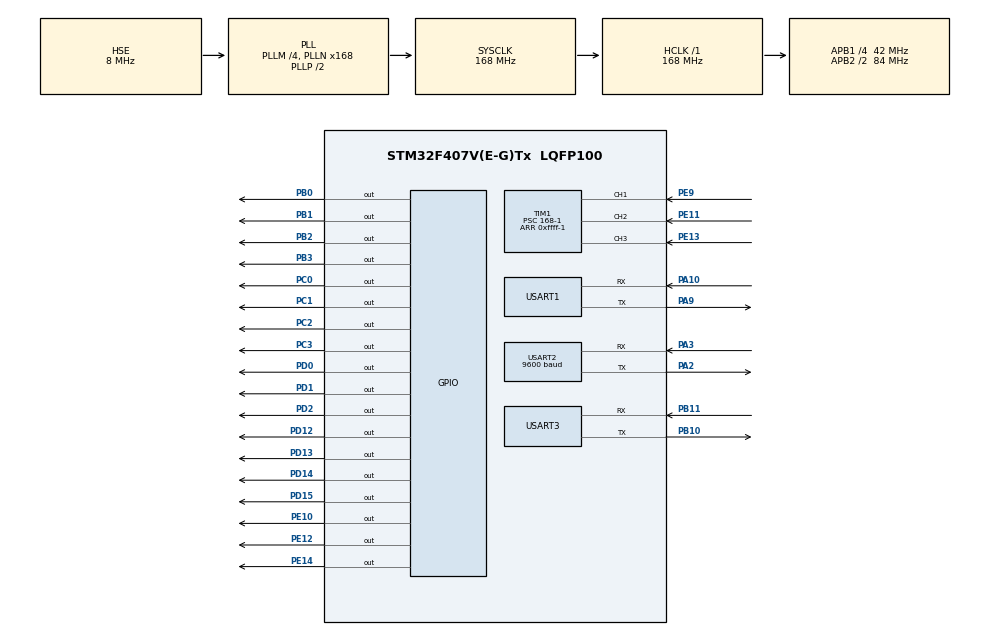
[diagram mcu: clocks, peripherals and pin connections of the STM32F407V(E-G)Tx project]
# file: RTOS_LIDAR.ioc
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Dma.Request0=USART1_RX
Dma.Request1=USART2_RX
Dma.Request2=USART3_TX
Dma.Request3=USART3_RX
Dma.USART1_RX.0.Direction=DMA_PERIPH_TO_MEMORY
Dma.USART1_RX.0.FIFOMode=DMA_FIFOMODE_DISABLE
Dma.USART1_RX.0.Instance=DMA2_Stream2
Dma.USART1_RX.0.MemDataAlignment=DMA_MDATAALIGN_BYTE
Dma.USART1_RX.0.MemInc=DMA_MINC_ENABLE
Dma.USART1_RX.0.Mode=DMA_NORMAL
Dma.USART1_RX.0.PeriphDataAlignment=DMA_PDATAALIGN_BYTE
Dma.USART1_RX.0.PeriphInc=DMA_PINC_DISABLE
Dma.USART1_RX.0.Priority=DMA_PRIORITY_LOW
Dma.USART2_RX.1.Direction=DMA_PERIPH_TO_MEMORY
Dma.USART2_RX.1.FIFOMode=DMA_FIFOMODE_DISABLE
Dma.USART2_RX.1.Instance=DMA1_Stream5
Dma.USART2_RX.1.MemDataAlignment=DMA_MDATAALIGN_BYTE
Dma.USART2_RX.1.MemInc=DMA_MINC_ENABLE
Dma.USART2_RX.1.Mode=DMA_NORMAL
Dma.USART2_RX.1.PeriphDataAlignment=DMA_PDATAALIGN_BYTE
Dma.USART2_RX.1.PeriphInc=DMA_PINC_DISABLE
Dma.USART2_RX.1.Priority=DMA_PRIORITY_LOW
Dma.USART3_RX.3.Direction=DMA_PERIPH_TO_MEMORY
Dma.USART3_RX.3.FIFOMode=DMA_FIFOMODE_DISABLE
Dma.USART3_RX.3.Instance=DMA1_Stream1
Dma.USART3_RX.3.MemDataAlignment=DMA_MDATAALIGN_BYTE
Dma.USART3_RX.3.MemInc=DMA_MINC_ENABLE
Dma.USART3_RX.3.Mode=DMA_NORMAL
Dma.USART3_RX.3.PeriphDataAlignment=DMA_PDATAALIGN_BYTE
Dma.USART3_RX.3.PeriphInc=DMA_PINC_DISABLE
Dma.USART3_RX.3.Priority=DMA_PRIORITY_LOW
Dma.USART3_TX.2.Direction=DMA_MEMORY_TO_PERIPH
Dma.USART3_TX.2.FIFOMode=DMA_FIFOMODE_DISABLE
Dma.USART3_TX.2.Instance=DMA1_Stream3
Dma.USART3_TX.2.MemDataAlignment=DMA_MDATAALIGN_BYTE
Dma.USART3_TX.2.MemInc=DMA_MINC_ENABLE
Dma.USART3_TX.2.Mode=DMA_NORMAL
Dma.USART3_TX.2.PeriphDataAlignment=DMA_PDATAALIGN_BYTE
Dma.USART3_TX.2.PeriphInc=DMA_PINC_DISABLE
Dma.USART3_TX.2.Priority=DMA_PRIORITY_LOW
FREERTOS.Tasks01=LidarREAD,24,128,StartLidarREAD,Default,NULL,Dynamic,NULL,NULL;TakeAction_Lida,8,128,Start_TakeAction_Lidar,Default,NULL,Dynamic,NULL,NULL;Ultrasonic_Read,24,128,Start_Ultrasonic_Read,Default,NULL,Dynamic,NULL,NULL;GPS,16,128,Start_GPS,Default,NULL,Dynamic,NULL,NULL;Send_Data,8,300,StartTask06,Default,NULL,Dynamic,NULL,NULL;Rec_Data,8,128,Start_Rec_Transmit,Default,NULL,Dynamic,NULL,NULL
Mcu.Family=STM32F4
Mcu.Name=STM32F407V(E-G)Tx
Mcu.Package=LQFP100
NVIC.DMA1_Stream1_IRQn=true\:5\:0\:false\:false\:true\:true\:false\:true\:true
NVIC.DMA1_Stream3_IRQn=true\:5\:0\:false\:false\:true\:true\:false\:true\:true
NVIC.DMA1_Stream5_IRQn=true\:5\:0\:false\:false\:true\:true\:false\:true\:true
NVIC.DMA2_Stream2_IRQn=true\:5\:0\:false\:false\:true\:true\:false\:true\:true
NVIC.PriorityGroup=NVIC_PRIORITYGROUP_4
NVIC.TIM1_CC_IRQn=true\:5\:0\:false\:false\:true\:true\:true\:true\:true
NVIC.TIM6_DAC_IRQn=true\:15\:0\:false\:false\:true\:false\:false\:true\:true
NVIC.TimeBase=TIM6_DAC_IRQn
NVIC.TimeBaseIP=TIM6
NVIC.USART1_IRQn=true\:5\:0\:false\:false\:true\:true\:true\:true\:true
NVIC.USART2_IRQn=true\:5\:0\:false\:false\:true\:true\:true\:true\:true
NVIC.USART3_IRQn=true\:5\:0\:true\:false\:true\:true\:true\:true\:true
PA10.Mode=Asynchronous
PA10.Signal=USART1_RX
PA2.Mode=Asynchronous
PA2.Signal=USART2_TX
PA3.Mode=Asynchronous
PA3.Signal=USART2_RX
PA9.Mode=Asynchronous
PA9.Signal=USART1_TX
PB0.Signal=GPIO_Output
PB1.Signal=GPIO_Output
PB10.Mode=Asynchronous
PB10.Signal=USART3_TX
PB11.Mode=Asynchronous
PB11.Signal=USART3_RX
PB2.Signal=GPIO_Output
PB3.Signal=GPIO_Output
PC0.Signal=GPIO_Output
PC1.Signal=GPIO_Output
PC14-OSC32_IN.Mode=LSE-External-Oscillator
PC14-OSC32_IN.Signal=RCC_OSC32_IN
PC15-OSC32_OUT.Mode=LSE-External-Oscillator
PC15-OSC32_OUT.Signal=RCC_OSC32_OUT
PC2.Signal=GPIO_Output
PC3.Signal=GPIO_Output
PD0.Signal=GPIO_Output
PD1.Signal=GPIO_Output
PD12.Signal=GPIO_Output
PD13.Signal=GPIO_Output
PD14.Signal=GPIO_Output
PD15.Signal=GPIO_Output
PD2.Signal=GPIO_Output
PE10.Signal=GPIO_Output
PE11.Signal=S_TIM1_CH2
PE12.Signal=GPIO_Output
PE13.Signal=S_TIM1_CH3
PE14.Signal=GPIO_Output
PE9.Signal=S_TIM1_CH1
PH0-OSC_IN.Mode=HSE-External-Oscillator
PH0-OSC_IN.Signal=RCC_OSC_IN
PH1-OSC_OUT.Mode=HSE-External-Oscillator
PH1-OSC_OUT.Signal=RCC_OSC_OUT
ProjectManager.HeapSize=0x200
ProjectManager.StackSize=0x400
ProjectManager.TargetToolchain=STM32CubeIDE
RCC.48MHZClocksFreq_Value=84000000
RCC.AHBFreq_Value=168000000
RCC.APB1CLKDivider=RCC_HCLK_DIV4
RCC.APB1Freq_Value=42000000
RCC.APB1TimFreq_Value=84000000
RCC.APB2CLKDivider=RCC_HCLK_DIV2
RCC.APB2Freq_Value=84000000
RCC.APB2TimFreq_Value=168000000
RCC.CortexFreq_Value=168000000
RCC.HCLKFreq_Value=168000000
RCC.HSE_VALUE=8000000
RCC.HSI_VALUE=16000000
RCC.PLLM=4
RCC.PLLN=168
RCC.PLLSourceVirtual=RCC_PLLSOURCE_HSE
RCC.SYSCLKFreq_VALUE=168000000
RCC.SYSCLKSource=RCC_SYSCLKSOURCE_PLLCLK
RCC.VCOOutputFreq_Value=336000000
SH.S_TIM1_CH1.0=TIM1_CH1,Input_Capture1_from_TI1
SH.S_TIM1_CH2.0=TIM1_CH2,Input_Capture2_from_TI2
SH.S_TIM1_CH3.0=TIM1_CH3,Input_Capture3_from_TI3
TIM1.Channel-Input_Capture1_from_TI1=TIM_CHANNEL_1
TIM1.Channel-Input_Capture2_from_TI2=TIM_CHANNEL_2
TIM1.Channel-Input_Capture3_from_TI3=TIM_CHANNEL_3
TIM1.Period=0xffff-1
TIM1.Prescaler=168-1
USART1.VirtualMode=VM_ASYNC
USART2.BaudRate=9600
USART2.VirtualMode=VM_ASYNC
USART3.VirtualMode=VM_ASYNC
VP_FREERTOS_VS_CMSIS_V2.Mode=CMSIS_V2
VP_SYS_VS_tim6.Mode=TIM6
VP_TIM1_VS_ClockSourceINT.Mode=Internal
board=custom

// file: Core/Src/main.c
/* USER CODE BEGIN Header */
/**
 ******************************************************************************
 * @file           : main.c
 * @brief          : Main program body
 ******************************************************************************
 * @attention
 *
 * Copyright (c) 2023 STMicroelectronics.
 * All rights reserved.
 *
 * This software is licensed under terms that can be found in the LICENSE file
 * in the root directory of this software component.
 * If no LICENSE file comes with this software, it is provided AS-IS.
 *
 ******************************************************************************
 */
/* USER CODE END Header */
#include "main.h"
#include "cmsis_os.h"

/* USER CODE BEGIN Includes */
#include "Lidar.h"
#include "UltraSonic.h"
#include "string.h"
#include "gps_driver.h"
#include"LCD.h"
#include <string.h>
#include <stdio.h>

/* USER CODE END Includes */

TIM_HandleTypeDef htim1;

UART_HandleTypeDef huart1;
UART_HandleTypeDef huart2;
UART_HandleTypeDef huart3;
DMA_HandleTypeDef hdma_usart1_rx;
DMA_HandleTypeDef hdma_usart2_rx;
DMA_HandleTypeDef hdma_usart3_tx;
DMA_HandleTypeDef hdma_usart3_rx;

/* Definitions for LidarREAD */
osThreadId_t LidarREADHandle;
const osThreadAttr_t LidarREAD_attributes = {
		.name = "LidarREAD",
		.stack_size = 128 * 4,
		.priority = (osPriority_t) osPriorityNormal,
};
/* Definitions for TakeAction_Lida */
osThreadId_t TakeAction_LidaHandle;
const osThreadAttr_t TakeAction_Lida_attributes = {
		.name = "TakeAction_Lida",
		.stack_size = 128 * 4,
		.priority = (osPriority_t) osPriorityLow,
};
/* Definitions for Ultrasonic_Read */
osThreadId_t Ultrasonic_ReadHandle;
const osThreadAttr_t Ultrasonic_Read_attributes = {
		.name = "Ultrasonic_Read",
		.stack_size = 128 * 4,
		.priority = (osPriority_t) osPriorityNormal,
};
/* Definitions for GPS */
osThreadId_t GPSHandle;
const osThreadAttr_t GPS_attributes = {
		.name = "GPS",
		.stack_size = 128 * 4,
		.priority = (osPriority_t) osPriorityBelowNormal,
};
/* Definitions for Send_Data */
osThreadId_t Send_DataHandle;
const osThreadAttr_t Send_Data_attributes = {
		.name = "Send_Data",
		.stack_size = 300 * 4,
		.priority = (osPriority_t) osPriorityLow,
};
/* Definitions for Rec_Data */
osThreadId_t Rec_DataHandle;
const osThreadAttr_t Rec_Data_attributes = {
		.name = "Rec_Data",
		.stack_size = 128 * 4,
		.priority = (osPriority_t) osPriorityLow,
};
/* USER CODE BEGIN PV */
#define RxBuf_SIZE 800

uint8_t RxBuf[RxBuf_SIZE];
uint8_t RMC[80];
uint8_t GGA[80];
uint8_t msgindex=0;
uint8_t msgindexRMC=0;

GGA_STRUCT GGA_DATA;

RMC_STRUCT RMC_DATA;

int Flag=0;
char str_GGA[50];
char str_RMC[100];
/* USER CODE END PV */

void SystemClock_Config(void);
static void MX_GPIO_Init(void);
static void MX_DMA_Init(void);
static void MX_USART1_UART_Init(void);
static void MX_TIM1_Init(void);
static void MX_USART2_UART_Init(void);
static void MX_USART3_UART_Init(void);
void StartLidarREAD(void *argument);
void Start_TakeAction_Lidar(void *argument);
void Start_Ultrasonic_Read(void *argument);
void Start_GPS(void *argument);
void StartTask06(void *argument);
void Start_Rec_Transmit(void *argument);

/* USER CODE BEGIN 0 */
/*****extern variable****/
extern uint16_t Global_u16LidarDistance;
extern uint32_t Rear_Distance;
extern uint32_t Left_Distance;
extern uint32_t Right_Distance;
char test_data[400];
int Vehicle_ID = 1;
int Routing_command=0;
float Destination_Longitude=31.3488351;
float Destination_Latitude=30.0591282;
int Check_Front_Obs=0;

char rx_data[10];
int Flag_Rec =0;
int Flag_obstacle=0;
int Flag_Drive=0;
uint8_t blink_color = 0;

/*buffer to receive data */
uint8_t g_usart1_rx_buf[USART_BUF_SIZE] = { 0 };
void HAL_UARTEx_RxEventCallback(UART_HandleTypeDef *huart, uint16_t Size)
{
	if (huart->Instance == USART2)
	{
		Flag=1;
		/* start the DMA again */
		HAL_UARTEx_ReceiveToIdle_DMA(&huart2, (uint8_t *) RxBuf, RxBuf_SIZE);
		__HAL_DMA_DISABLE_IT(&hdma_usart2_rx, DMA_IT_HT);
	}
	if (huart->Instance == USART3)
	{
		Flag_Rec=1;
		/* start the DMA again */
		HAL_UARTEx_ReceiveToIdle_DMA(&huart3, (uint8_t *) rx_data, sizeof(rx_data));
		__HAL_DMA_DISABLE_IT(&hdma_usart3_rx, DMA_IT_HT);

	}
}

/* USER CODE END 0 */

int main(void)
{

	/* MCU Configuration--------------------------------------------------------*/

	/* Reset of all peripherals, Initializes the Flash interface and the Systick. */
	HAL_Init();

	/* Configure the system clock */
	SystemClock_Config();

	/* Initialize all configured peripherals */
	MX_GPIO_Init();
	MX_DMA_Init();
	MX_USART1_UART_Init();
	MX_TIM1_Init();
	MX_USART2_UART_Init();
	MX_USART3_UART_Init();
	/* USER CODE BEGIN 2 */
	HAL_UARTEx_ReceiveToIdle_DMA(&huart2, RxBuf, RxBuf_SIZE);
	__HAL_DMA_DISABLE_IT(&hdma_usart2_rx, DMA_IT_HT);

	HAL_UARTEx_ReceiveToIdle_DMA(&huart3, rx_data, sizeof(rx_data));
	__HAL_DMA_DISABLE_IT(&hdma_usart3_rx, DMA_IT_HT);
	LCD_init(); /* Initialize the LCD */
	LCD_displayStringRowColumn(0,0,"STM LCD Driver");
	LCD_displayStringRowColumn(1,3,"GRAD PROJECT");
	HAL_Delay(400); /* wait four seconds */

	LCD_clearScreen(); /* clear the LCD display */
	LCD_displayString(" ");
	LCD_displayStringRowColumn(1,3,"4-Bit Mode");
	/* USER CODE END 2 */

	/* Init scheduler */
	osKernelInitialize();

	/* Create the thread(s) */
	/* creation of LidarREAD */
	LidarREADHandle = osThreadNew(StartLidarREAD, NULL, &LidarREAD_attributes);

	/* creation of TakeAction_Lida */
	TakeAction_LidaHandle = osThreadNew(Start_TakeAction_Lidar, NULL, &TakeAction_Lida_attributes);

	/* creation of Ultrasonic_Read */
	Ultrasonic_ReadHandle = osThreadNew(Start_Ultrasonic_Read, NULL, &Ultrasonic_Read_attributes);

	/* creation of GPS */
	GPSHandle = osThreadNew(Start_GPS, NULL, &GPS_attributes);

	/* creation of Send_Data */
	Send_DataHandle = osThreadNew(StartTask06, NULL, &Send_Data_attributes);

	/* creation of Rec_Data */
	Rec_DataHandle = osThreadNew(Start_Rec_Transmit, NULL, &Rec_Data_attributes);

	/* Start scheduler */
	osKernelStart();
	/* We should never get here as control is now taken by the scheduler */
	/* Infinite loop */
	while (1)
	{

	}
}

void SystemClock_Config(void)
{
	RCC_OscInitTypeDef RCC_OscInitStruct = {0};
	RCC_ClkInitTypeDef RCC_ClkInitStruct = {0};

	/** Configure the main internal regulator output voltage
	 */
	__HAL_RCC_PWR_CLK_ENABLE();
	__HAL_PWR_VOLTAGESCALING_CONFIG(PWR_REGULATOR_VOLTAGE_SCALE1);

	/** Initializes the RCC Oscillators according to the specified parameters
	 * in the RCC_OscInitTypeDef structure.
	 */
	RCC_OscInitStruct.OscillatorType = RCC_OSCILLATORTYPE_HSE;
	RCC_OscInitStruct.HSEState = RCC_HSE_ON;
	RCC_OscInitStruct.PLL.PLLState = RCC_PLL_ON;
	RCC_OscInitStruct.PLL.PLLSource = RCC_PLLSOURCE_HSE;
	RCC_OscInitStruct.PLL.PLLM = 4;
	RCC_OscInitStruct.PLL.PLLN = 168;
	RCC_OscInitStruct.PLL.PLLP = RCC_PLLP_DIV2;
	RCC_OscInitStruct.PLL.PLLQ = 4;
	if (HAL_RCC_OscConfig(&RCC_OscInitStruct) != HAL_OK)
	{
		Error_Handler();
	}

	/** Initializes the CPU, AHB and APB buses clocks
	 */
	RCC_ClkInitStruct.ClockType = RCC_CLOCKTYPE_HCLK|RCC_CLOCKTYPE_SYSCLK
			|RCC_CLOCKTYPE_PCLK1|RCC_CLOCKTYPE_PCLK2;
	RCC_ClkInitStruct.SYSCLKSource = RCC_SYSCLKSOURCE_PLLCLK;
	RCC_ClkInitStruct.AHBCLKDivider = RCC_SYSCLK_DIV1;
	RCC_ClkInitStruct.APB1CLKDivider = RCC_HCLK_DIV4;
	RCC_ClkInitStruct.APB2CLKDivider = RCC_HCLK_DIV2;

	if (HAL_RCC_ClockConfig(&RCC_ClkInitStruct, FLASH_LATENCY_5) != HAL_OK)
	{
		Error_Handler();
	}
}

static void MX_TIM1_Init(void)
{

	TIM_ClockConfigTypeDef sClockSourceConfig = {0};
	TIM_MasterConfigTypeDef sMasterConfig = {0};
	TIM_IC_InitTypeDef sConfigIC = {0};

	htim1.Instance = TIM1;
	htim1.Init.Prescaler = 168-1;
	htim1.Init.CounterMode = TIM_COUNTERMODE_UP;
	htim1.Init.Period = 0xffff-1;
	htim1.Init.ClockDivision = TIM_CLOCKDIVISION_DIV1;
	htim1.Init.RepetitionCounter = 0;
	htim1.Init.AutoReloadPreload = TIM_AUTORELOAD_PRELOAD_DISABLE;
	if (HAL_TIM_Base_Init(&htim1) != HAL_OK)
	{
		Error_Handler();
	}
	sClockSourceConfig.ClockSource = TIM_CLOCKSOURCE_INTERNAL;
	if (HAL_TIM_ConfigClockSource(&htim1, &sClockSourceConfig) != HAL_OK)
	{
		Error_Handler();
	}
	if (HAL_TIM_IC_Init(&htim1) != HAL_OK)
	{
		Error_Handler();
	}
	sMasterConfig.MasterOutputTrigger = TIM_TRGO_RESET;
	sMasterConfig.MasterSlaveMode = TIM_MASTERSLAVEMODE_DISABLE;
	if (HAL_TIMEx_MasterConfigSynchronization(&htim1, &sMasterConfig) != HAL_OK)
	{
		Error_Handler();
	}
	sConfigIC.ICPolarity = TIM_INPUTCHANNELPOLARITY_RISING;
	sConfigIC.ICSelection = TIM_ICSELECTION_DIRECTTI;
	sConfigIC.ICPrescaler = TIM_ICPSC_DIV1;
	sConfigIC.ICFilter = 0;
	if (HAL_TIM_IC_ConfigChannel(&htim1, &sConfigIC, TIM_CHANNEL_1) != HAL_OK)
	{
		Error_Handler();
	}
	if (HAL_TIM_IC_ConfigChannel(&htim1, &sConfigIC, TIM_CHANNEL_2) != HAL_OK)
	{
		Error_Handler();
	}
	if (HAL_TIM_IC_ConfigChannel(&htim1, &sConfigIC, TIM_CHANNEL_3) != HAL_OK)
	{
		Error_Handler();
	}

}

static void MX_USART1_UART_Init(void)
{

	huart1.Instance = USART1;
	huart1.Init.BaudRate = 115200;
	huart1.Init.WordLength = UART_WORDLENGTH_8B;
	huart1.Init.StopBits = UART_STOPBITS_1;
	huart1.Init.Parity = UART_PARITY_NONE;
	huart1.Init.Mode = UART_MODE_TX_RX;
	huart1.Init.HwFlowCtl = UART_HWCONTROL_NONE;
	huart1.Init.OverSampling = UART_OVERSAMPLING_16;
	if (HAL_UART_Init(&huart1) != HAL_OK)
	{
		Error_Handler();
	}

}

static void MX_USART2_UART_Init(void)
{

	huart2.Instance = USART2;
	huart2.Init.BaudRate = 9600;
	huart2.Init.WordLength = UART_WORDLENGTH_8B;
	huart2.Init.StopBits = UART_STOPBITS_1;
	huart2.Init.Parity = UART_PARITY_NONE;
	huart2.Init.Mode = UART_MODE_TX_RX;
	huart2.Init.HwFlowCtl = UART_HWCONTROL_NONE;
	huart2.Init.OverSampling = UART_OVERSAMPLING_16;
	if (HAL_UART_Init(&huart2) != HAL_OK)
	{
		Error_Handler();
	}

}

static void MX_USART3_UART_Init(void)
{

	huart3.Instance = USART3;
	huart3.Init.BaudRate = 115200;
	huart3.Init.WordLength = UART_WORDLENGTH_8B;
	huart3.Init.StopBits = UART_STOPBITS_1;
	huart3.Init.Parity = UART_PARITY_NONE;
	huart3.Init.Mode = UART_MODE_TX_RX;
	huart3.Init.HwFlowCtl = UART_HWCONTROL_NONE;
	huart3.Init.OverSampling = UART_OVERSAMPLING_16;
	if (HAL_UART_Init(&huart3) != HAL_OK)
	{
		Error_Handler();
	}

}

static void MX_DMA_Init(void)
{

	/* DMA controller clock enable */
	__HAL_RCC_DMA2_CLK_ENABLE();
	__HAL_RCC_DMA1_CLK_ENABLE();

	/* DMA interrupt init */
	/* DMA1_Stream1_IRQn interrupt configuration */
	HAL_NVIC_SetPriority(DMA1_Stream1_IRQn, 5, 0);
	HAL_NVIC_EnableIRQ(DMA1_Stream1_IRQn);
	/* DMA1_Stream3_IRQn interrupt configuration */
	HAL_NVIC_SetPriority(DMA1_Stream3_IRQn, 5, 0);
	HAL_NVIC_EnableIRQ(DMA1_Stream3_IRQn);
	/* DMA1_Stream5_IRQn interrupt configuration */
	HAL_NVIC_SetPriority(DMA1_Stream5_IRQn, 5, 0);
	HAL_NVIC_EnableIRQ(DMA1_Stream5_IRQn);
	/* DMA2_Stream2_IRQn interrupt configuration */
	HAL_NVIC_SetPriority(DMA2_Stream2_IRQn, 5, 0);
	HAL_NVIC_EnableIRQ(DMA2_Stream2_IRQn);

}

static void MX_GPIO_Init(void)
{
	GPIO_InitTypeDef GPIO_InitStruct = {0};

	/* GPIO Ports Clock Enable */
	__HAL_RCC_GPIOC_CLK_ENABLE();
	__HAL_RCC_GPIOH_CLK_ENABLE();
	__HAL_RCC_GPIOA_CLK_ENABLE();
	__HAL_RCC_GPIOB_CLK_ENABLE();
	__HAL_RCC_GPIOE_CLK_ENABLE();
	__HAL_RCC_GPIOD_CLK_ENABLE();

	/*Configure GPIO pin Output Level */
	HAL_GPIO_WritePin(GPIOC, GPIO_PIN_0|GPIO_PIN_1|GPIO_PIN_2|GPIO_PIN_3, GPIO_PIN_RESET);

	/*Configure GPIO pin Output Level */
	HAL_GPIO_WritePin(GPIOB, GPIO_PIN_0|GPIO_PIN_1|GPIO_PIN_2|GPIO_PIN_3, GPIO_PIN_RESET);

	/*Configure GPIO pin Output Level */
	HAL_GPIO_WritePin(GPIOE, GPIO_PIN_10|GPIO_PIN_12|GPIO_PIN_14, GPIO_PIN_RESET);

	/*Configure GPIO pin Output Level */
	HAL_GPIO_WritePin(GPIOD, GPIO_PIN_12|GPIO_PIN_13|GPIO_PIN_14|GPIO_PIN_15
			|GPIO_PIN_0|GPIO_PIN_1|GPIO_PIN_2, GPIO_PIN_RESET);

	/*Configure GPIO pins : PC0 PC1 PC2 PC3 */
	GPIO_InitStruct.Pin = GPIO_PIN_0|GPIO_PIN_1|GPIO_PIN_2|GPIO_PIN_3;
	GPIO_InitStruct.Mode = GPIO_MODE_OUTPUT_PP;
	GPIO_InitStruct.Pull = GPIO_NOPULL;
	GPIO_InitStruct.Speed = GPIO_SPEED_FREQ_LOW;
	HAL_GPIO_Init(GPIOC, &GPIO_InitStruct);

	/*Configure GPIO pins : PB0 PB1 PB2 PB3 */
	GPIO_InitStruct.Pin = GPIO_PIN_0|GPIO_PIN_1|GPIO_PIN_2|GPIO_PIN_3;
	GPIO_InitStruct.Mode = GPIO_MODE_OUTPUT_PP;
	GPIO_InitStruct.Pull = GPIO_NOPULL;
	GPIO_InitStruct.Speed = GPIO_SPEED_FREQ_LOW;
	HAL_GPIO_Init(GPIOB, &GPIO_InitStruct);

	/*Configure GPIO pins : PE10 PE12 PE14 */
	GPIO_InitStruct.Pin = GPIO_PIN_10|GPIO_PIN_12|GPIO_PIN_14;
	GPIO_InitStruct.Mode = GPIO_MODE_OUTPUT_PP;
	GPIO_InitStruct.Pull = GPIO_NOPULL;
	GPIO_InitStruct.Speed = GPIO_SPEED_FREQ_LOW;
	HAL_GPIO_Init(GPIOE, &GPIO_InitStruct);

	/*Configure GPIO pins : PD12 PD13 PD14 PD15
                           PD0 PD1 PD2 */
	GPIO_InitStruct.Pin = GPIO_PIN_12|GPIO_PIN_13|GPIO_PIN_14|GPIO_PIN_15
			|GPIO_PIN_0|GPIO_PIN_1|GPIO_PIN_2;
	GPIO_InitStruct.Mode = GPIO_MODE_OUTPUT_PP;
	GPIO_InitStruct.Pull = GPIO_NOPULL;
	GPIO_InitStruct.Speed = GPIO_SPEED_FREQ_LOW;
	HAL_GPIO_Init(GPIOD, &GPIO_InitStruct);

}

void StartLidarREAD(void *argument)
{
	/* USER CODE BEGIN 5 */
	/* Infinite loop */
	for(;;)
	{
		HAL_UART_Receive_DMA(&huart1, g_usart1_rx_buf, USART_BUF_SIZE);

		/* enable uart IDLE  interrupt */
		__HAL_UART_ENABLE_IT(&huart1, UART_IT_IDLE);
		if(Global_u16LidarDistance <=100)
		{
			Flag_obstacle=1;
			Flag_Drive=0;
		}
		if(Global_u16LidarDistance < 1200)
		{
			Check_Front_Obs=1;
		}
		else if(Global_u16LidarDistance == 65535)
		{
			Check_Front_Obs=0;
		}
		osDelay(800);
	}
	/* USER CODE END 5 */
}

void Start_TakeAction_Lidar(void *argument)
{
	/* USER CODE BEGIN Start_TakeAction_Lidar */
	/* Infinite loop */
	for(;;)
	{
		if (Flag_obstacle == 1)
		{
			HAL_GPIO_WritePin(GPIOD, GPIO_PIN_14,SET);
			LCD_clearScreen(); /* clear the LCD display */
			LCD_displayString(" ");
			LCD_displayStringRowColumn(0,0,"Applying Brakes");
			HAL_Delay(200);
			HAL_GPIO_WritePin(GPIOD, GPIO_PIN_14,RESET);
			if(Global_u16LidarDistance >=101)
			{
				Flag_Drive=1;
			}
			Flag_obstacle=0;
			osDelay(200);

		}
		else if(Flag_Drive==1) {
			LCD_clearScreen(); /* clear the LCD display */
			LCD_displayString(" ");
			LCD_displayStringRowColumn(0,0,"Drive Mode");
			Flag_Drive=0;
			osDelay(20);
		}
	}
	/* USER CODE END Start_TakeAction_Lidar */
}

void Start_Ultrasonic_Read(void *argument)
{
	/* USER CODE BEGIN Start_Ultrasonic_Read */
	/* Infinite loop */
	HAL_TIM_IC_Start_IT(&htim1,TIM_CHANNEL_1);
	HAL_TIM_IC_Start_IT(&htim1,TIM_CHANNEL_2);
	//HAL_TIM_IC_Start_IT(&htim1,TIM_CHANNEL_3);

	for(;;)
	{
		UltraSonic_Read_Left();
		osDelay(400);

		UltraSonic_Read_Right();
		osDelay(400);
	}
	/* USER CODE END Start_Ultrasonic_Read */
}

void Start_GPS(void *argument)
{
	/* USER CODE BEGIN Start_GPS */
	/* Infinite loop */
	for(;;)
	{
		if (Flag==1)
		{
			//	if(Flag == 1){
			char *ptr = strstr((char *)RxBuf,"GPGGA");
			char *ptr1 = strstr((char *)RxBuf,"GPRMC");

			if(*ptr == 'G' )
			{
				if(*(ptr+1) == 'P' )

				{
					if(*(ptr+2) == 'G' )
					{
						if(*(ptr+3) == 'G' )
						{
							if(*(ptr+4) == 'A' )
							{
								while(1)
								{
									GGA[msgindex]=*ptr;
									msgindex++;
									*ptr =*(ptr+msgindex);
									if (*ptr=='*')
									{
										GGA[msgindex]='\n';
										msgindex++;
										GGA[msgindex]='\0';
										msgindex=0;
										break;
									}
								}

							}
						}
					}
				}
			}

			if(*ptr1 == 'G' )
			{
				if(*(ptr1+1) == 'P' )

				{
					if(*(ptr1+2) == 'R' )
					{
						if(*(ptr1+3) == 'M' )
						{
							if(*(ptr1+4) == 'C' )
							{
								while(1)
								{
									RMC[msgindexRMC]=*ptr1;
									msgindexRMC++;
									*ptr1 =*(ptr1+msgindexRMC);
									if (*ptr1=='*')
									{
										RMC[msgindexRMC]='\n';
										msgindexRMC++;
										RMC[msgindexRMC]='\0';
										msgindexRMC=0;
										break;
									}
								}

							}
						}
					}
				}
			}
			RMC_decode(RMC, &RMC_DATA);
			GGA_decode(GGA, &GGA_DATA);
			Flag=0;
			osDelay(100);
		}	}
	/* USER CODE END Start_GPS */
}

void StartTask06(void *argument)
{
	/* USER CODE BEGIN StartTask06 */
	/* Infinite loop */
	for(;;)
	{
		char lat[30];
		char lon[30];
		char D_lat[30];
		char D_lon[30];

		gcvt(GGA_DATA.position.latitude, 10, lat);
		gcvt(GGA_DATA.position.logitude, 10, lon);
		gcvt(Destination_Latitude, 10, D_lat);
		gcvt(Destination_Longitude, 10, D_lon);

		/*	int len = snprintf(test_data, sizeof(test_data), "%d-%d-%d %d:%d:%d,%d,%s,%s,%d,%d,%d,%lu,%lu,%lu,%s,%s"
				,
				RMC_DATA.date.day, RMC_DATA.date.month, RMC_DATA.date.year,
				GGA_DATA.time.hour, GGA_DATA.time.minuit, GGA_DATA.time.second, Vehicle_ID,
				lon, lat,(uint16_t)RMC_DATA.speed_over_gnd, Check_Front_Obs, Global_u16LidarDistance,
				Left_Distance, Right_Distance,Rear_Distance, D_lon, D_lat);
		 */

		/*int len = snprintf(test_data, sizeof(test_data), "{\n"
				"\"dateandtime\": \"%d-%d-%d %d:%d:%d\" ,\n"
				"\"vehicle id\": %d,\n"
				"\"current lon\": %s,\n"
				"\"current lat\": %s,\n"
				"\"spdK/m\": %d,\n"
				"\"obsatcle flag\": %d,\n"
				"\"obstacle distance\": %d,\n"
				"\"3\": %lu,\n"
				"\"4\" :%lu,\n"
				"\"5\" :%lu,\n"
				"\"destination lon\": %s,\n"
				"\"destinationn lat\": %s\n}"
				,
				RMC_DATA.date.day, RMC_DATA.date.month, RMC_DATA.date.year,
				GGA_DATA.time.hour, GGA_DATA.time.minuit, GGA_DATA.time.second, Vehicle_ID,
				lon, lat,(uint16_t)RMC_DATA.speed_over_gnd, Check_Front_Obs, Global_u16LidarDistance,
				Left_Distance, Right_Distance,Rear_Distance, D_lon, D_lat);*/
		int len = snprintf(test_data, sizeof(test_data), "{\n"
				"\"dateandtime\": \"2022-12-07 08:48:00\" ,\n"
				"\"id\": \"%d\",\n"
				"\"r_cmd\": %d,\n"
				"\"clon\": 31.338135,\n"
				"\"clat\": 30.056193,\n"
				"\"spdK/m\": %d,\n"
				"\"1\": %d,\n"//obs flag
				"\"2\": %d,\n"//obs distance
				"\"3\": %lu,\n" // left distance
				"\"4\" :%lu,\n"//right
				"\"5\": %s,\n" //dest lon
				"\"6\": %s\n}" // dest lat

				/*RMC_DATA.date.year, RMC_DATA.date.month, RMC_DATA.date.day,
				GGA_DATA.time.hour, GGA_DATA.time.minuit, GGA_DATA.time.second*/, Vehicle_ID, Routing_command,
				/*lon, lat,*/(uint16_t)RMC_DATA.speed_over_gnd, Check_Front_Obs, Global_u16LidarDistance,
				Left_Distance, Right_Distance, D_lon, D_lat);

		/*
		 * TIME_STAMP          = "dateandtime"

		V_ID                = "vehicle id"
		CURRENT_SPEED       = "spdK/m"
		CURRENT_POS_LAT     = "current lat"
		CURRENT_POS_LON     = "current lon"

		ROUTING_CMD         = "routing command"
		DISTINATION_POS_LAT = "destinationn lat"
		DISTINATION_POS_LON = "destination lon"

		OBSTACLE_FLAG       = "obsatcle flag"
		OBSTACLE_SPEED      = "obstacle speed"
		OBSTACLE_distance   = "obstacle distance"
		 */
		if (len < 0 || len >= sizeof(test_data)) {
			// handle error
		} else {
			HAL_StatusTypeDef status = HAL_UART_Transmit_DMA(&huart3, (uint8_t*)test_data, sizeof(test_data));
			//HAL_Delay(100);
			if (status != HAL_OK) {
				// handle error
			} else {
				printf("Transmitted %d bytes of data: %s\n", sizeof(test_data), test_data);
			}
		}

		osDelay(1000);
	}
	/* USER CODE END StartTask06 */
}

void Start_Rec_Transmit(void *argument)
{
	/* USER CODE BEGIN Start_Rec_Transmit */
	/* Infinite loop */
	for(;;)
	{

		if (Flag_Rec == 1)
		{
			rx_data[strcspn(rx_data, "\r\n")] = '\0';
			rx_data[strcspn(rx_data, "\r\n")] = '\0';
			if (strcmp(rx_data, "Right") == 0)
			{
				blink_color = 1; // Green
				HAL_GPIO_WritePin(GPIOC, GPIO_PIN_0, SET);
				HAL_GPIO_WritePin(GPIOC, GPIO_PIN_1, RESET);
				HAL_GPIO_WritePin(GPIOC, GPIO_PIN_2, RESET);
				HAL_GPIO_WritePin(GPIOC, GPIO_PIN_3, RESET);
				memset((rx_data), '\0', strlen(rx_data));
				LCD_clearScreen(); /* clear the LCD display */
				LCD_displayString(" ");
				LCD_displayStringRowColumn(1,3,"Turn Right");
			}
			else if( strcmp(rx_data, "Left") == 0)
			{
				blink_color = 2; // Yellow
				HAL_GPIO_WritePin(GPIOC, GPIO_PIN_0, RESET);
				HAL_GPIO_WritePin(GPIOC, GPIO_PIN_1, SET);
				HAL_GPIO_WritePin(GPIOC, GPIO_PIN_2, RESET);
				HAL_GPIO_WritePin(GPIOC, GPIO_PIN_3, RESET);
				memset((rx_data), '\0', strlen(rx_data));

				LCD_clearScreen(); /* clear the LCD display */
				LCD_displayString(" ");
				LCD_displayStringRowColumn(1,3,"Turn Left");
			} else if (strcmp(rx_data, "Straight") == 0)
			{
				blink_color = 3; // Blue
				HAL_GPIO_WritePin(GPIOC, GPIO_PIN_0, RESET);
				HAL_GPIO_WritePin(GPIOC, GPIO_PIN_1, RESET);
				HAL_GPIO_WritePin(GPIOC, GPIO_PIN_2, SET);
				HAL_GPIO_WritePin(GPIOC, GPIO_PIN_3, RESET);
				memset((rx_data), '\0', strlen(rx_data));

				LCD_clearScreen(); /* clear the LCD display */
				LCD_displayString(" ");
				LCD_displayStringRowColumn(1,3,"Go Straight");

			} else if (strcmp(rx_data, "Warning") == 0)
			{
				blink_color = 4; // Red
				HAL_GPIO_WritePin(GPIOC, GPIO_PIN_0, RESET);
				HAL_GPIO_WritePin(GPIOC, GPIO_PIN_1, RESET);
				HAL_GPIO_WritePin(GPIOC, GPIO_PIN_2, RESET);
				HAL_GPIO_WritePin(GPIOC, GPIO_PIN_3, SET);
				memset((rx_data), '\0', strlen(rx_data));

				LCD_clearScreen(); /* clear the LCD display */
				LCD_displayString(" ");
				LCD_displayStringRowColumn(1,3,"Warning!!");
			}

			Flag_Rec=0;
		}	}
	/* USER CODE END Start_Rec_Transmit */
}

void HAL_TIM_PeriodElapsedCallback(TIM_HandleTypeDef *htim)
{
	if (htim->Instance == TIM6) {
		HAL_IncTick();
	}
}

void Error_Handler(void)
{
	__disable_irq();
	while (1)
	{
	}
}
